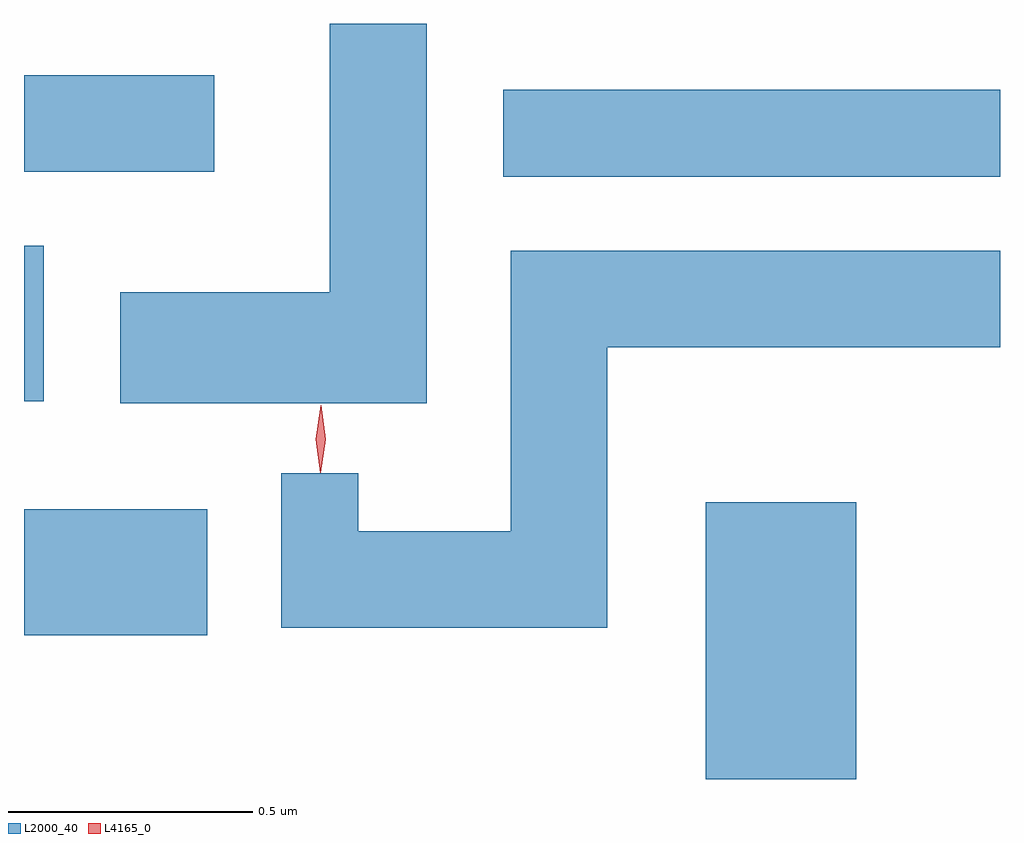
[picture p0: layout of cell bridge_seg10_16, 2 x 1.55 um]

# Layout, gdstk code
import gdstk
lib = gdstk.Library(unit=1e-6, precision=1e-09)
def R(c, l, rs):  # rectangles x0, y0, x1, y1
    for r in rs: c.add(gdstk.rectangle(r[:2], r[2:], *l))
def P(c, l, *ps):  # polygons
    for p in ps: c.add(gdstk.Polygon(p, *l))
L2000_40 = (2000, 40)
L4165_0 = (4165, 0)

bridge_seg10_16 = lib.new_cell('bridge_seg10_16')
R(bridge_seg10_16, L2000_40, [(1821.951,2205.166,1822.259,2205.734), (1820.554,2205.461,1820.929,2205.719), (1820.554,2205.941,1820.594,2206.259), (1821.536,2206.401,1822.554,2206.579), (1820.554,2206.411,1820.944,2206.609)])
P(bridge_seg10_16, L2000_40, [(1821.379,2206.714),(1821.181,2206.714),(1821.181,2206.164),(1820.751,2206.164),(1820.751,2205.936),(1821.379,2205.936)],
  [(1821.749,2206.051),(1822.554,2206.051),(1822.554,2206.249),(1821.551,2206.249),(1821.551,2205.674),(1821.239,2205.674),(1821.239,2205.793),(1821.081,2205.793),(1821.081,2205.476),(1821.749,2205.476)])
P(bridge_seg10_16, L4165_0, [(1821.161,2205.794),(1821.152,2205.863),(1821.162,2205.932),(1821.162,2205.932),(1821.163,2205.932),(1821.172,2205.863),(1821.162,2205.794),(1821.162,2205.794)])

lib.write_gds('bridge_seg10_16.gds')
